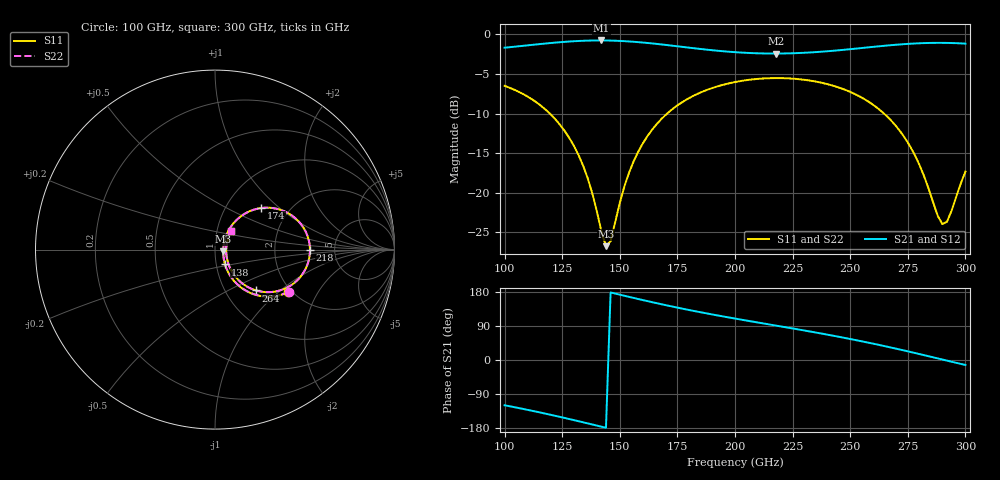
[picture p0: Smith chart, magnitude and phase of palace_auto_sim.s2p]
#  GHZ S DB R 50
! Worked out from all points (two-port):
!   101 points, 100 GHz to 300 GHz, reference 50 ohm
!   highest |S21| = -0.78 dB at 142 GHz (marker M1); lowest = -2.4 dB at 218 GHz (marker M2)
!   |S21| within 3 dB of the highest: start of sweep to end of sweep
!   lowest |S11| = -26.7 dB at 144 GHz (marker M3), VSWR 1.10, Z = 54.7 - j0.956 ohm
!   |S11| at or under -10 dB: 119.6 GHz to 170.6 GHz (50.98 GHz wide, 35.1 % of centre); 264.6 GHz to end of sweep
!   |S22| runs from -26.6 to -5.5 dB; largest |S21 - S12| = 1e-13
!   S11 on the Smith chart (normalised r, x): 100 GHz: 1.92, -1.17; 138 GHz: 1.10, -0.18; 174 GHz: 1.46, +0.77; 218 GHz: 3.25, -0.04; 264 GHz: 1.39, -0.70; 300 GHz: 1.17, +0.24
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100  -6.51 -30.0  -1.69 -119.5  -1.69 -119.5  -6.51 -29.8
120  -10.11 -50.8  -1.10 -144.6  -1.10 -144.6  -10.11 -50.6
128  -13.05 -57.8  -0.92 -155.7  -0.92 -155.7  -13.04 -57.6
134  -16.53 -60.0  -0.82 -164.3  -0.82 -164.3  -16.52 -59.6
138  -20.01 -56.2  -0.79 -170.1  -0.79 -170.1  -19.98 -55.7
142  -24.86 -36.2  -0.78 -176.0  -0.78 -176.0  -24.76 -35.6
144  -26.74 -10.9  -0.79 -178.9  -0.79 -178.9  -26.59 -10.6
146  -26.10 19.1  -0.80 178.2  -0.80 178.2  -25.97 18.9
152  -19.19 53.0  -0.87 169.5  -0.87 169.5  -19.16 52.7
156  -16.03 55.3  -0.95 163.8  -0.95 163.8  -16.02 55.1
168  -10.71 47.6  -1.28 147.3  -1.28 147.3  -10.70 47.6
174  -9.18 41.9  -1.48 139.5  -1.48 139.5  -9.18 41.8
200  -6.03 16.5  -2.26 109.4  -2.26 109.4  -6.03 16.5
218  -5.53 -0.5  -2.43 90.6  -2.43 90.6  -5.53 -0.4
234  -5.91 -15.6  -2.27 73.7  -2.27 73.7  -5.91 -15.6
250  -7.27 -31.3  -1.88 55.5  -1.88 55.5  -7.27 -31.3
264  -9.83 -44.9  -1.47 37.8  -1.47 37.8  -9.83 -44.9
268  -10.96 -48.3  -1.37 32.5  -1.37 32.5  -10.96 -48.4
278  -15.22 -52.9  -1.16 18.6  -1.16 18.6  -15.23 -53.1
290  -23.95 -7.4  -1.08 1.3  -1.08 1.3  -24.15 -7.5
292  -23.66 13.1  -1.09 -1.6  -1.09 -1.6  -23.85 13.6
300  -17.33 48.5  -1.18 -13.1  -1.18 -13.1  -17.38 49.2
